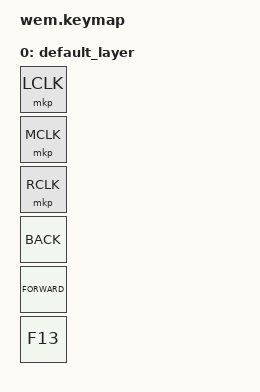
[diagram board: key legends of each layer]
#include <behaviors.dtsi>
#include <dt-bindings/zmk/keys.h>
#include <dt-bindings/zmk/bt.h>
#include <dt-bindings/zmk/mouse.h>

/ {
    keymap {
        compatible = "zmk,keymap";
        
        default_layer {
            bindings = <
                &mkp LCLK    // Left mouse button
                &mkp MCLK    // Middle mouse button
                &mkp RCLK    // Right mouse button
                &kp K_BACK   // Back button
                &kp K_FORWARD // Forward button
                &kp F13      // F13 key
            >;
        };
    };
};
